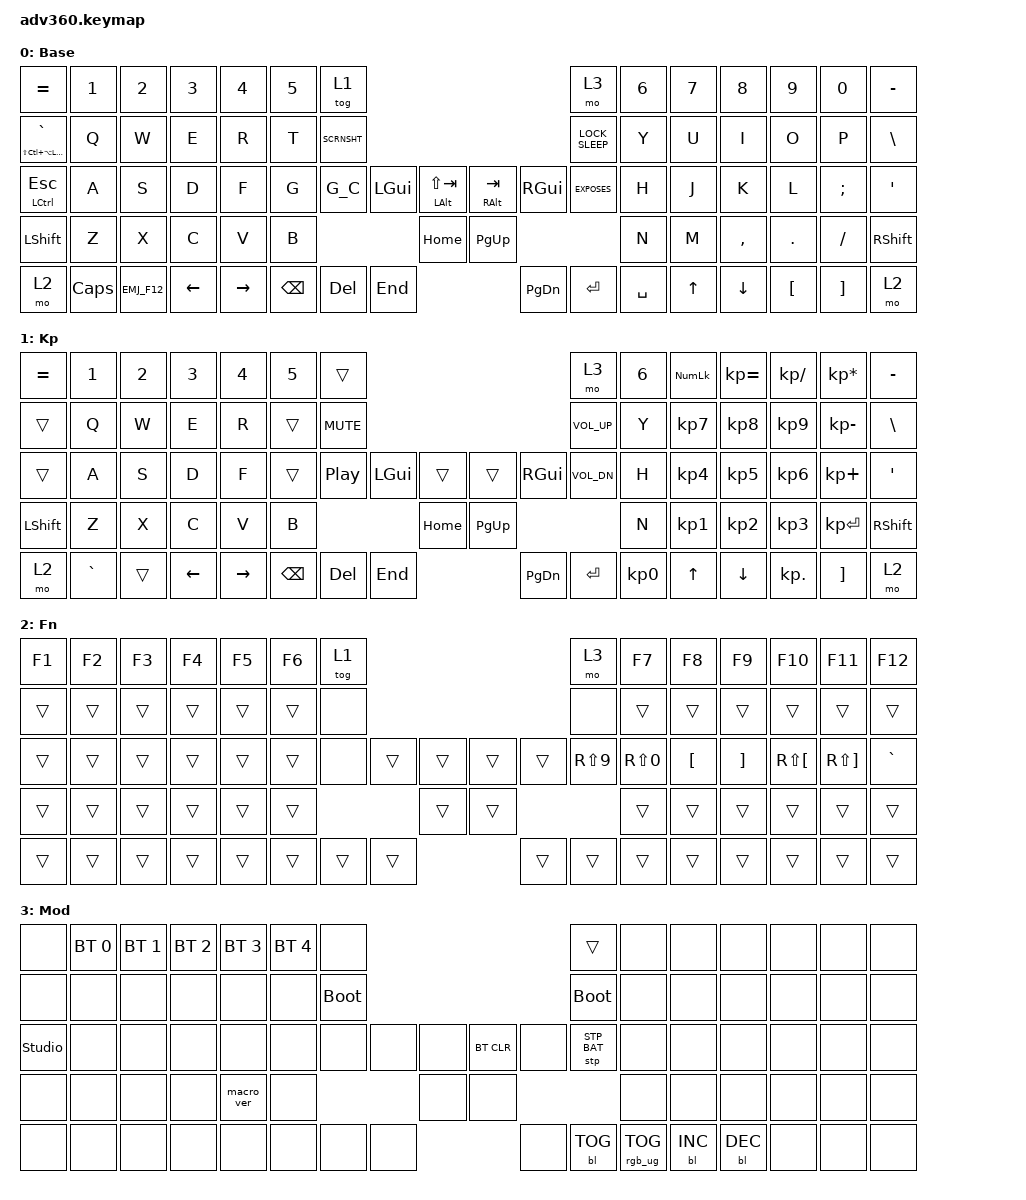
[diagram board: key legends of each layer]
#include <behaviors.dtsi>
#include <dt-bindings/zmk/keys.h>
#include <dt-bindings/zmk/bt.h>
#include <dt-bindings/zmk/rgb.h>
#include <dt-bindings/zmk/stp.h>
#include <dt-bindings/zmk/backlight.h>
#include <dt-bindings/zmk/pointing.h>

#define HYP(key)        LS(LC(LA(LG(key))))
#define HYPER           LS(LC(LA(LGUI)))

// Switch Language
#define LANG            LC(SPACE)

// Take a screen shot, with complex controls or simple controls
#define SCRSHT_SLOW     LG(LS(N5))
#define SCRSHT_FAST     LG(LS(N4))

// Back Tab (shift-tab)
#define BTAB            LS(TAB)

// Lock the Mac
#define MACLOCK         LG(LC(Q))

// ZoneWM window hints (the host software spells this HYPER + minus)
#define VIMPOSE         HYP(MINUS)
#define EXPOSE          LC(UP)

// Copy Paste tap dance
#define SH_COPY         LG(C)
#define SH_PASTE        LG(V)

// Emoji shortcut
#define EMJ             LC(LG(SPACE))

// Box Brackets
//&kp LBKT &kp RBKT

// Left, right Brace (Curly) brackets
#define LBBKT           RS(LBKT)
#define RBBKT           RS(RBKT)

// Left, right Round brackets
#define LRBKT           RS(N9)
#define RRBKT           RS(N0)


&mt {
    tapping-term-ms = <200>;
    flavor = "tap-preferred";
};

&lt {
    quick_tap_ms = <200>;
};

/ {
    behaviors {
      #include "macros.dtsi"
      #include "version.dtsi"

      hm: homerow_mods {
          compatible = "zmk,behavior-hold-tap";
          label = "HOMEROW_MODS";
          #binding-cells = <2>;
          tapping-term-ms = <200>;
          quick_tap_ms = <175>;
          flavor = "tap-preferred";
          bindings = <&kp>, <&kp>;
      };

      C_P:
        tap_dance_0 {
          compatible = "zmk,behavior-tap-dance";
          label = "C_P";
          #binding-cells = <0>;
          tapping-term-ms = <200>;
          bindings = <&kp SH_COPY>, <&kp SH_PASTE>;
        };

      SCRNSHT:
        tap_dance_1 {
          compatible = "zmk,behavior-tap-dance";
          label = "SCRNSHT";
          #binding-cells = <0>;
          tapping-term-ms = <200>;
          bindings = <&kp SCRSHT_SLOW>, <&kp SCRSHT_FAST>;
        };

      EXPOSES:
        tap_dance_2 {
          compatible = "zmk,behavior-tap-dance";
          label = "EXPOSES";
          #binding-cells = <0>;
          tapping-term-ms = <200>;
          bindings = <&kp VIMPOSE>, <&kp EXPOSE>;
        };

      LOCK_SLEEP:
        tap_dance_3 {
          compatible = "zmk,behavior-tap-dance";
          label = "LOCK_SLEEP";
          #binding-cells = <0>;
          tapping-term-ms = <200>;
          bindings = <&kp MACLOCK>, <&kp K_SLEEP>;
        };

      EMJ_F12:
        tap_dance_4 {
          compatible = "zmk,behavior-tap-dance";
          label = "EMJ_F12";
          #binding-cells = <0>;
          tapping-term-ms = <200>;
          bindings = <&kp EMJ>, <&kp F12>;
        };

      G_C: // GeminiDesk/ Claude switchers
        tap_dance_5 {
          compatible = "zmk,behavior-tap-dance";
          label = "G_C";
          #binding-cells = <0>;
          tapping-term-ms = <200>;
          bindings = <&kp HYP(F1)>, <&kp HYP(F2)>;
      };
    };

  keymap {
    compatible = "zmk,keymap";

    default_layer {
      display-name = "Base";
      bindings = <
        &kp EQUAL            &kp N1         &kp N2         &kp N3   &kp N4     &kp N5 &tog 1                                                                           &mo 3           &kp N6 &kp N7 &kp N8    &kp N9   &kp N0   &kp MINUS
        &mt HYPER GRAVE      &kp Q          &kp W          &kp E    &kp R      &kp T  &SCRNSHT                                                                         &LOCK_SLEEP     &kp Y  &kp U  &kp I     &kp O    &kp P    &kp BSLH
        &mt LCTRL ESC        &kp A          &kp S          &kp D    &kp F      &kp G  &G_C                   &kp LGUI  &mt LALT BTAB  &mt RALT TAB  &kp RGUI           &EXPOSES        &kp H  &kp J  &kp K     &kp L    &kp SEMI &kp SQT
        &kp LSHFT            &kp Z          &kp X          &kp C    &kp V      &kp B                                   &kp HOME       &kp PG_UP                                        &kp N  &kp M  &kp COMMA &kp DOT  &kp FSLH &kp RSHFT
        &mo 2                &kp CAPS       &EMJ_F12       &kp LEFT &kp RIGHT                       &kp BSPC &kp DEL   &kp END        &kp PG_DN     &kp ENTER &kp SPACE                       &kp UP &kp DOWN  &kp LBKT &kp RBKT &mo 2
      >;
    };
    keypad {
      display-name = "Kp";
      bindings = <
        &kp EQUAL       &kp N1    &kp N2          &kp N3   &kp N4     &kp N5        &trans                                                                                &mo 3         &kp N6 &kp KP_NUM &kp KP_EQUAL &kp KP_DIVIDE &kp KP_MULTIPLY &kp MINUS
        &trans          &kp Q     &kp W           &kp E    &kp R      &trans        &kp C_MUTE                                                                            &kp C_VOL_UP  &kp Y  &kp KP_N7  &kp KP_N8    &kp KP_N9     &kp KP_MINUS    &kp BSLH
        &trans          &kp A     &kp S           &kp D    &kp F      &trans        &kp C_PP                     &kp LGUI  &trans       &trans        &kp RGUI            &kp C_VOL_DN  &kp H  &kp KP_N4  &kp KP_N5    &kp KP_N6     &kp KP_PLUS     &kp SQT
        &kp LSHFT       &kp Z     &kp X           &kp C    &kp V      &kp B                                                &kp HOME     &kp PG_UP                                       &kp N  &kp KP_N1  &kp KP_N2    &kp KP_N3     &kp KP_ENTER    &kp RSHFT
        &mo 2           &kp GRAVE &trans          &kp LEFT &kp RIGHT                                   &kp BSPC  &kp DEL   &kp END      &kp PG_DN     &kp ENTER &kp KP_N0                      &kp UP     &kp DOWN     &kp KP_DOT    &kp RBKT        &mo 2
      >;
    };
    fn {
      display-name = "Fn";
      bindings = <
        &kp F1 &kp F2 &kp F3 &kp F4 &kp F5 &kp F6 &tog 1                                           &mo 3      &kp F7    &kp F8    &kp F9    &kp F10   &kp F11     &kp F12
        &trans &trans &trans &trans &trans &trans  &none                                           &none      &trans    &trans    &trans    &trans    &trans      &trans
        &trans &trans &trans &trans &trans &trans  &none        &trans &trans &trans &trans        &kp LRBKT  &kp RRBKT &kp LBKT  &kp RBKT  &kp LBBKT &kp RBBKT   &kp GRAVE
        &trans &trans &trans &trans &trans &trans                      &trans &trans                          &trans    &trans    &trans    &trans    &trans      &trans
        &trans &trans &trans &trans &trans               &trans &trans &trans &trans &trans &trans                      &trans    &trans    &trans    &trans      &trans
      >;
    };
    mod {
      display-name = "Mod";
      bindings = <
        &none &bt BT_SEL 0 &bt BT_SEL 1 &bt BT_SEL 2 &bt BT_SEL 3 &bt BT_SEL 4 &none                                                                     &trans                 &none        &none        &none        &none &none &none
        &none &none        &none        &none        &none        &none        &bootloader                                                               &bootloader            &none        &none        &none        &none &none &none
        &studio_unlock     &none        &none        &none        &none        &none        &none                  &none &none &bt BT_CLR &none                      &stp STP_BAT &none        &none        &none        &none &none &none
        &none &none        &none        &none        &macro_ver   &none                                      &none &none                                                        &none        &none        &none        &none &none &none
        &none &none        &none        &none        &none                                       &none &none &none &none      &bl BL_TOG &rgb_ug RGB_TOG                                     &bl BL_INC   &bl BL_DEC   &none &none &none

      >;
    };
    extra1 {
      display-name = "Red";
      status = "reserved";
    };

    extra2 {
      display-name = "Purple";
      status = "reserved";
    };

    extra3 {
      display-name = "Cyan";
      status = "reserved";
    };

    extra4 {
      display-name = "Yellow";
      status = "reserved";
    };
  };
};
